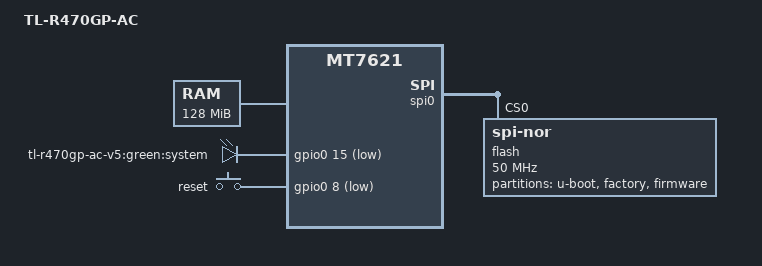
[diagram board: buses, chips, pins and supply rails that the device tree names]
/dts-v1/;

#include "mt7621.dtsi"

#include <dt-bindings/gpio/gpio.h>
#include <dt-bindings/input/input.h>

/ {
	compatible = "tplink,tl-r470gp-ac-v5", "mediatek,mt7621-soc";
	model = "TL-R470GP-AC";

	memory@0 {
		device_type = "memory";
		reg = <0x0 0x8000000>; /* 128MB DDR3 */
	};

	chosen {
		bootargs = "console=ttyS0,115200";
	};

	leds {
		compatible = "gpio-leds";

		system {
			label = "tl-r470gp-ac-v5:green:system";
			gpios = <&gpio0 15 GPIO_ACTIVE_LOW>;
		};
	};

	keys {
		compatible = "gpio-keys-polled";
		poll-interval = <20>;

		reset {
			label = "reset";
			gpios = <&gpio0 8 GPIO_ACTIVE_LOW>;
			linux,code = <KEY_RESTART>;
		};
	};
};

&spi0 {
	status = "okay";

	flash@0 {
		compatible = "jedec,spi-nor";
		reg = <0>;
		spi-max-frequency = <50000000>; /* 50MHz */

		partitions {
			compatible = "fixed-partitions";
			#address-cells = <1>;
			#size-cells = <1>;

			partition@0 {
				label = "u-boot";
				reg = <0x0 0x30000>; /* 192 KB */
				read-only;
			};

			factory: partition@30000 {
				label = "factory";
				reg = <0x30000 0x10000>; /* 64 KB */
				read-only;
			};

			partition@40000 {
				label = "firmware";
				compatible = "denx,uimage";
				reg = <0x40000 0xfc0000>;
			};
		};
	};
};

&ethernet {
	mtd-mac-address = <&factory 0x0d>;
};

&pinctrl {
	state_default: pinctrl0 {
		gpio {
			ralink,group = "jtag", "uart2", "uart3", "wdt", "pcie", "sdhci";
			ralink,function = "gpio";
		};
	};
};
